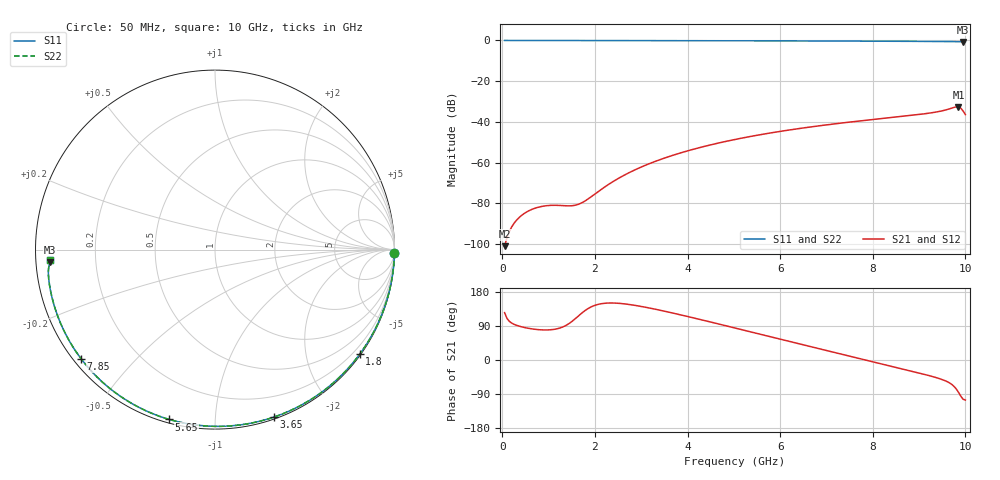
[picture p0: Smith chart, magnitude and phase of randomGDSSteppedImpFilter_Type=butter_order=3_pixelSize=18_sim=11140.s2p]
! freq	dB(S11)	phase(S11)	dB(S12)	phase(S12)
!  dB(S21)	phase(S21)	dB(S22)	phase(S22)
!S-par simulation data
#  GHz  S  DB  R 50
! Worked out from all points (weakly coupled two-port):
!   200 points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, 50 MHz to 10 GHz, reference 50 ohm
!   highest |S21| = -32.64 dB at 9.85 GHz (marker M1); lowest = -101.1 dB at 50 MHz (marker M2)
!   lowest |S11| = -0.7 dB at 9.95 GHz (marker M3), VSWR 24.97, Z = 2 - j1.89 ohm
!   |S11| at or under -10 dB: nowhere
!   |S22| runs from -0.7 to 0.0 dB; largest |S21 - S12| = 0
!   S11 on the Smith chart (normalised r, x): 50 MHz: open; 1.8 GHz: 0.03, -3.09; 3.65 GHz: 0.02, -1.41; 5.65 GHz: 0.02, -0.77; 7.85 GHz: 0.02, -0.36; 10 GHz: 0.04, -0.03
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0.05  -0.00 -1.0  -101.10 125.0  -101.10 125.0  -0.00 -1.0
0.85  -0.02 -17.2  -81.58 79.5  -81.58 79.5  -0.02 -17.2
1.7  -0.04 -34.0  -79.98 122.1  -79.98 122.1  -0.04 -34.0
1.75  -0.04 -34.9  -79.39 127.0  -79.39 127.0  -0.04 -34.9
1.8  -0.05 -35.9  -78.70 131.5  -78.70 131.5  -0.05 -35.9
2.25  -0.06 -44.6  -71.43 150.1  -71.43 150.1  -0.06 -44.6
2.55  -0.06 -50.3  -67.24 149.2  -67.24 149.2  -0.06 -50.3
2.95  -0.08 -57.8  -62.70 142.4  -62.70 142.4  -0.08 -57.8
3.4  -0.09 -66.1  -58.62 131.5  -58.62 131.5  -0.09 -66.1
3.65  -0.10 -70.6  -56.68 124.8  -56.68 124.8  -0.10 -70.6
4.3  -0.12 -82.2  -52.43 106.1  -52.43 106.1  -0.12 -82.2
5.05  -0.15 -95.1  -48.55 83.7  -48.55 83.7  -0.15 -95.1
5.65  -0.18 -105.1  -46.00 65.6  -46.00 65.6  -0.18 -105.1
6.7  -0.24 -122.3  -42.38 34.0  -42.38 34.0  -0.24 -122.3
7.85  -0.33 -140.8  -39.23 -0.1  -39.23 -0.1  -0.33 -140.8
8.35  -0.38 -148.8  -38.02 -14.8  -38.02 -14.8  -0.38 -148.9
9.3  -0.48 -164.6  -35.44 -44.0  -35.44 -44.0  -0.49 -164.6
9.8  -0.60 -173.4  -32.65 -76.0  -32.65 -76.0  -0.60 -173.5
9.85  -0.64 -174.3  -32.64 -85.0  -32.64 -85.0  -0.64 -174.4
9.9  -0.67 -175.0  -33.25 -95.3  -33.25 -95.3  -0.68 -175.1
9.95  -0.70 -175.7  -34.65 -103.4  -34.65 -103.4  -0.70 -175.7
10  -0.70 -176.3  -36.46 -105.7  -36.46 -105.7  -0.70 -176.4
